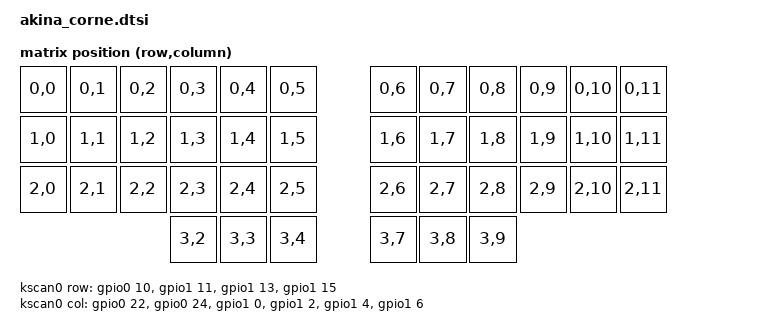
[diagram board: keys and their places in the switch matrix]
#include <dt-bindings/zmk/matrix_transform.h>

/ {
    chosen {
        zmk,kscan = &kscan0;
        zmk,matrix_transform = &default_transform;
    };

    default_transform: keymap_transform_0 {
        compatible = "zmk,matrix-transform";
        columns = <12>;
        rows = <4>;
        /*
         * Layout Corne (42 teclas):
         * RC(linha, coluna)
         * Colunas 0-5: lado esquerdo
         * Colunas 6-11: lado direito
         *
         * | 0  | 1  | 2  | 3  | 4  | 5  |   | 6  | 7  | 8  | 9  | 10 | 11 |
         * | 12 | 13 | 14 | 15 | 16 | 17 |   | 18 | 19 | 20 | 21 | 22 | 23 |
         * | 24 | 25 | 26 | 27 | 28 | 29 |   | 30 | 31 | 32 | 33 | 34 | 35 |
         *                | 38 | 39 | 40 |   | 41 | 42 | 43 |
         */
        map = <
RC(0,0)  RC(0,1)  RC(0,2)  RC(0,3)  RC(0,4)  RC(0,5)    RC(0,6)  RC(0,7)  RC(0,8)  RC(0,9)  RC(0,10) RC(0,11)
RC(1,0)  RC(1,1)  RC(1,2)  RC(1,3)  RC(1,4)  RC(1,5)    RC(1,6)  RC(1,7)  RC(1,8)  RC(1,9)  RC(1,10) RC(1,11)
RC(2,0)  RC(2,1)  RC(2,2)  RC(2,3)  RC(2,4)  RC(2,5)    RC(2,6)  RC(2,7)  RC(2,8)  RC(2,9)  RC(2,10) RC(2,11)
                  RC(3,2)  RC(3,3)  RC(3,4)               RC(3,7)  RC(3,8)  RC(3,9)
        >;
    };

    kscan0: kscan {
        compatible = "zmk,kscan-gpio-matrix";
        wakeup-source;
        diode-direction = "col2row";

        /*
         * ============================================================
         * MAPEAMENTO DE PINOS - nice!nano
         * Ajuste os numeros abaixo conforme a fiacao do seu PCB.
         *
         * Referencia de pinos do nice!nano (alias pro_micro):
         *
         *  pro_micro  0  = P0.08  (D0 / RX)
         *  pro_micro  1  = P0.06  (D1 / TX)
         *  pro_micro  2  = P0.15  (D2)
         *  pro_micro  3  = P0.17  (D3)
         *  pro_micro  4  = P0.20  (D4)
         *  pro_micro  5  = P0.22  (D5)
         *  pro_micro  6  = P0.24  (D6)
         *  pro_micro  7  = P1.00  (D7)
         *  pro_micro  8  = P0.11  (D8)
         *  pro_micro  9  = P1.04  (D9)
         *  pro_micro 10  = P1.06  (D10)
         *  pro_micro 14  = P0.03  (A0)
         *  pro_micro 15  = P0.28  (A1)
         *  pro_micro 16  = P0.02  (A2)
         *  pro_micro 17  = P0.29  (A3)
         *  pro_micro 18  = P0.31  (A4 / SDA)
         *  pro_micro 19  = P0.30  (A5 / SCL)
         *  pro_micro 20  = P0.04  (SDA)
         *  pro_micro 21  = P0.05  (SCL)
         * ============================================================
         *
         * Configuracao atual: mapeamento padrao Corne (crkbd)
         * Se as teclas nao funcionarem, troque os numeros dos pinos
         * de coluna e linha para corresponder ao seu PCB.
         */

        col-gpios
            = <&gpio0 22 GPIO_ACTIVE_HIGH>   /* P0.22 - Coluna 0 */
            , <&gpio0 24 GPIO_ACTIVE_HIGH>   /* P0.24 - Coluna 1 */
            , <&gpio1  0 GPIO_ACTIVE_HIGH>   /* P1.00 - Coluna 2 */
            , <&gpio1  2 GPIO_ACTIVE_HIGH>   /* P1.02 - Coluna 3 */
            , <&gpio1  4 GPIO_ACTIVE_HIGH>   /* P1.04 - Coluna 4 */
            , <&gpio1  6 GPIO_ACTIVE_HIGH>   /* P1.06 - Coluna 5 */
            ;

        row-gpios
            = <&gpio0 10 (GPIO_ACTIVE_HIGH | GPIO_PULL_DOWN)>  /* P0.10 - Linha 0 */
            , <&gpio1 11 (GPIO_ACTIVE_HIGH | GPIO_PULL_DOWN)>  /* P1.11 - Linha 1 */
            , <&gpio1 13 (GPIO_ACTIVE_HIGH | GPIO_PULL_DOWN)>  /* P1.13 - Linha 2 */
            , <&gpio1 15 (GPIO_ACTIVE_HIGH | GPIO_PULL_DOWN)>  /* P1.15 - Linha 3 */
            ;
    };
};
